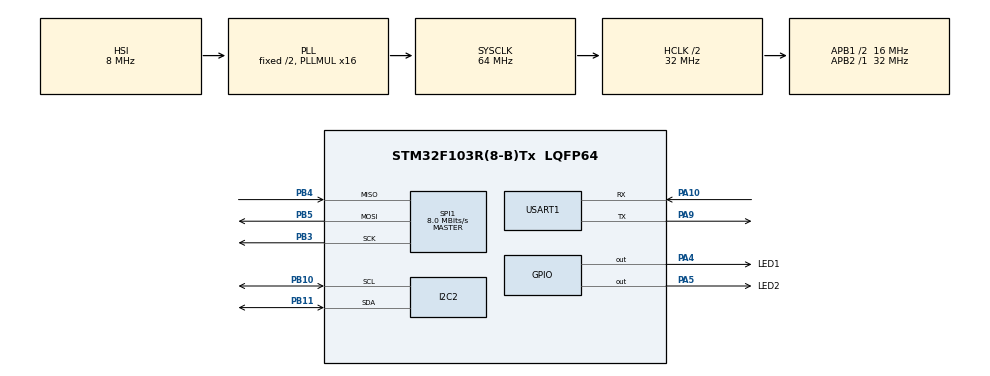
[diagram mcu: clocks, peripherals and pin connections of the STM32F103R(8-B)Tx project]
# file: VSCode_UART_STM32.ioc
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Mcu.Family=STM32F1
Mcu.Name=STM32F103R(8-B)Tx
Mcu.Package=LQFP64
NVIC.PriorityGroup=NVIC_PRIORITYGROUP_4
NVIC.TIM1_TRG_COM_IRQn=true\:0\:0\:false\:false\:true\:true\:true\:true
NVIC.USART1_IRQn=true\:0\:0\:false\:false\:true\:true\:true\:true
PA10.Mode=Asynchronous
PA10.Signal=USART1_RX
PA4.GPIO_Label=LED1
PA4.Signal=GPIO_Output
PA5.GPIO_Label=LED2
PA5.Signal=GPIO_Output
PA9.Mode=Asynchronous
PA9.Signal=USART1_TX
PB10.Mode=I2C
PB10.Signal=I2C2_SCL
PB11.Mode=I2C
PB11.Signal=I2C2_SDA
PB3.Mode=Full_Duplex_Master
PB3.Signal=SPI1_SCK
PB4.Mode=Full_Duplex_Master
PB4.Signal=SPI1_MISO
PB5.Mode=Full_Duplex_Master
PB5.Signal=SPI1_MOSI
ProjectManager.HeapSize=0x200
ProjectManager.StackSize=0x400
ProjectManager.TargetToolchain=CMake
RCC.AHBCLKDivider=RCC_SYSCLK_DIV2
RCC.AHBFreq_Value=32000000
RCC.APB1CLKDivider=RCC_HCLK_DIV2
RCC.APB1Freq_Value=16000000
RCC.APB1TimFreq_Value=32000000
RCC.APB2Freq_Value=32000000
RCC.APB2TimFreq_Value=32000000
RCC.HCLKFreq_Value=32000000
RCC.PLLMUL=RCC_PLL_MUL16
RCC.SYSCLKFreq_VALUE=64000000
RCC.SYSCLKSource=RCC_SYSCLKSOURCE_PLLCLK
RCC.USBFreq_Value=64000000
SPI1.BaudRatePrescaler=SPI_BAUDRATEPRESCALER_4
SPI1.CalculateBaudRate=8.0 MBits/s
SPI1.Direction=SPI_DIRECTION_2LINES
SPI1.Mode=SPI_MODE_MASTER
SPI1.VirtualType=VM_MASTER
TIM1.Channel-PWM\ Generation1\ No\ Output=TIM_CHANNEL_1
TIM1.Prescaler=2
TIM1.Pulse-PWM\ Generation1\ No\ Output=32768
USART1.VirtualMode=VM_ASYNC
VP_SYS_VS_ND.Mode=No_Debug
VP_TIM1_VS_no_output1.Mode=PWM Generation1 No Output
board=custom

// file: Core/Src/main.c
/* USER CODE BEGIN Header */
/**
 ******************************************************************************
 * @file           : main.c
 * @brief          : Main program body
 ******************************************************************************
 * @attention
 *
 * Copyright (c) 2025 STMicroelectronics.
 * All rights reserved.
 *
 * This software is licensed under terms that can be found in the LICENSE file
 * in the root directory of this software component.
 * If no LICENSE file comes with this software, it is provided AS-IS.
 *
 ******************************************************************************
 */
/* USER CODE END Header */
#include "main.h"
#include "i2c.h"
#include "spi.h"
#include "tim.h"
#include "usart.h"
#include "gpio.h"

void SystemClock_Config(void);
/* USER CODE BEGIN PFP */
extern ReturnType_t SPI_Write(const uint8_t * WriteData, uint16_t NumberOfBytes);
extern ReturnType_t SPI_Read(const uint8_t * ReadData, uint16_t NumberOfBytes);
extern ReturnType_t I2C_Write(uint16_t Addr, uint8_t * Wdata, uint16_t NoOfBytes);
extern ReturnType_t I2C_Read(uint16_t Addr, uint8_t * Rdata, uint16_t NoOfBytes);
void glow_led(void);
/* USER CODE END PFP */

/* USER CODE BEGIN 0 */
bool TimeExpired = false;
/* USER CODE END 0 */

int main(void)
{

  /* MCU Configuration--------------------------------------------------------*/

  /* Reset of all peripherals, Initializes the Flash interface and the Systick. */
  HAL_Init();

  /* Configure the system clock */
  SystemClock_Config();

  /* Initialize all configured peripherals */
  MX_GPIO_Init();
  MX_TIM1_Init();
  MX_USART1_UART_Init();
  MX_I2C2_Init();
  MX_SPI1_Init();

  /* Infinite loop */
  /* USER CODE BEGIN WHILE */
  volatile uint8_t print_cnt = 0;
  HAL_Delay(10);
  uint8_t test_data = 0x80;
  uint8_t read_id = 0x00;
  /* Read the ID */
  HAL_GPIO_WritePin(GPIOB, GPIO_PIN_6, GPIO_PIN_RESET);
  SPI_Write(&test_data, sizeof(test_data));
  SPI_Read(&read_id, sizeof(read_id));
  printf("[SPI Test] ID: 0x%02X\n", read_id);
  HAL_GPIO_WritePin(GPIOB, GPIO_PIN_6, GPIO_PIN_SET);

  /* Write data 0xAB to memory address 0x05 */
  uint8_t write_buf[2] = {0x05, 0xAB};  /* First byte is address, second is data */
  I2C_Write(0x50, write_buf, sizeof(write_buf));
  HAL_Delay(10);  /* Wait for write to complete */

  /* Read back from memory address 0x05 */
  uint8_t mem_addr = 0x05;
  uint8_t read_data = 0x00;
  I2C_Write(0x50, &mem_addr, sizeof(mem_addr));  /* Set the memory address */
  I2C_Read(0x50, &read_data, sizeof(read_data));  /* Read the data */
  printf("[I2C Test] Memory at 0x05: 0x%02X\n", read_data);

  return 0;
  while (1)
  {
    /* USER CODE END WHILE */

    /* USER CODE BEGIN 3 */
    if (TimeExpired == true)
    {
      printf("Hello PICSimLab: %d\r\n", print_cnt++);
      TimeExpired = false;
      HAL_Delay(10);
    }
    // else
    // {
    //   HAL_Delay(100);
    // }
  }
  /* USER CODE END 3 */
}

void SystemClock_Config(void)
{
  RCC_OscInitTypeDef RCC_OscInitStruct = {0};
  RCC_ClkInitTypeDef RCC_ClkInitStruct = {0};

  /** Initializes the RCC Oscillators according to the specified parameters
  * in the RCC_OscInitTypeDef structure.
  */
  RCC_OscInitStruct.OscillatorType = RCC_OSCILLATORTYPE_HSI;
  RCC_OscInitStruct.HSIState = RCC_HSI_ON;
  RCC_OscInitStruct.HSICalibrationValue = RCC_HSICALIBRATION_DEFAULT;
  RCC_OscInitStruct.PLL.PLLState = RCC_PLL_ON;
  RCC_OscInitStruct.PLL.PLLSource = RCC_PLLSOURCE_HSI_DIV2;
  RCC_OscInitStruct.PLL.PLLMUL = RCC_PLL_MUL16;
  if (HAL_RCC_OscConfig(&RCC_OscInitStruct) != HAL_OK)
  {
    Error_Handler();
  }

  /** Initializes the CPU, AHB and APB buses clocks
  */
  RCC_ClkInitStruct.ClockType = RCC_CLOCKTYPE_HCLK|RCC_CLOCKTYPE_SYSCLK
                              |RCC_CLOCKTYPE_PCLK1|RCC_CLOCKTYPE_PCLK2;
  RCC_ClkInitStruct.SYSCLKSource = RCC_SYSCLKSOURCE_PLLCLK;
  RCC_ClkInitStruct.AHBCLKDivider = RCC_SYSCLK_DIV2;
  RCC_ClkInitStruct.APB1CLKDivider = RCC_HCLK_DIV2;
  RCC_ClkInitStruct.APB2CLKDivider = RCC_HCLK_DIV1;

  if (HAL_RCC_ClockConfig(&RCC_ClkInitStruct, FLASH_LATENCY_2) != HAL_OK)
  {
    Error_Handler();
  }
}

void Error_Handler(void)
{
  __disable_irq();
  while (1)
  {
  }
}
